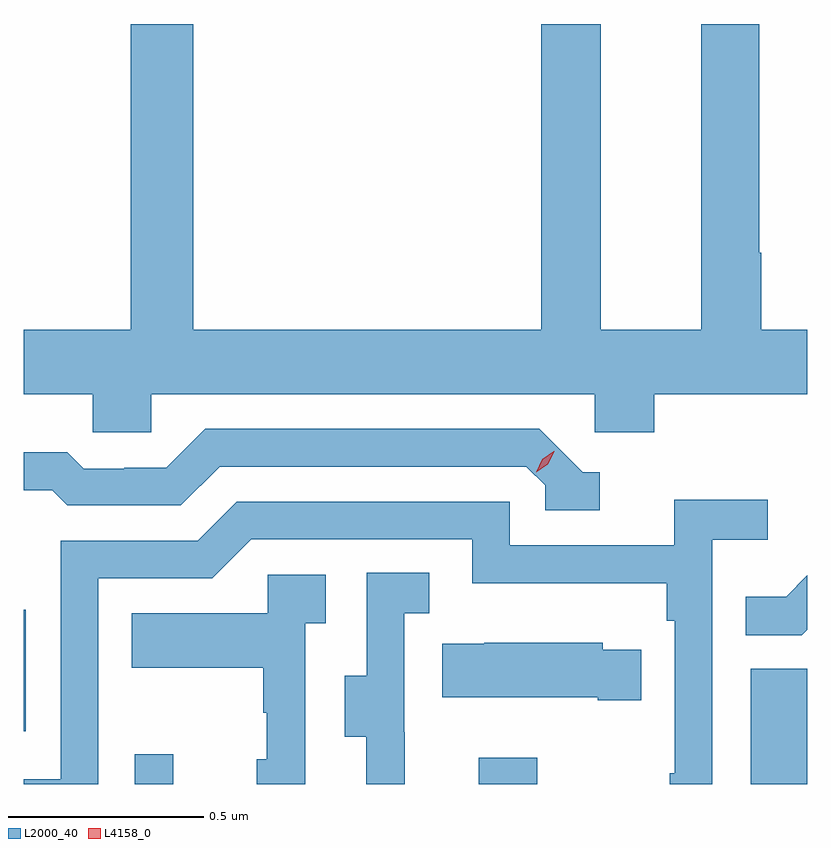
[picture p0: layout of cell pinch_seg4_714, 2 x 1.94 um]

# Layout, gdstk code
import gdstk
lib = gdstk.Library(unit=1e-6, precision=1e-09)
def R(c, l, rs):  # rectangles x0, y0, x1, y1
    for r in rs: c.add(gdstk.rectangle(r[:2], r[2:], *l))
def P(c, l, *ps):  # polygons
    for p in ps: c.add(gdstk.Polygon(p, *l))
L2000_40 = (2000, 40)
L4158_0 = (4158, 0)

pinch_seg4_714 = lib.new_cell('pinch_seg4_714')
R(pinch_seg4_714, L2000_40, [(1108.827,758.529,1108.925,758.605), (1109.705,758.529,1109.853,758.596), (1110.398,758.529,1110.543,758.823), (1108.543,758.664,1108.548,758.974)])
P(pinch_seg4_714, L2000_40, [(1108.869,759.524),(1110,759.524),(1110,759.426),(1110.152,759.426),(1110.152,759.524),(1110.543,759.524),(1110.543,759.688),(1110.425,759.688),(1110.425,759.884),(1110.42,759.884),(1110.42,760.467),(1110.272,760.467),(1110.272,759.688),(1110.016,759.688),(1110.016,760.467),(1109.864,760.467),(1109.864,759.688),(1108.976,759.688),(1108.976,760.468),(1108.816,760.468),(1108.816,759.688),(1108.543,759.688),(1108.543,759.524),(1108.719,759.524),(1108.719,759.426),(1108.869,759.426)],
  [(1110.013,759.324),(1109.97,759.324),(1109.859,759.435),(1109.006,759.435),(1108.907,759.336),(1108.8,759.336),(1108.8,759.333),(1108.697,759.333),(1108.655,759.376),(1108.543,759.376),(1108.543,759.279),(1108.616,759.279),(1108.655,759.24),(1108.944,759.24),(1109.043,759.339),(1109.826,759.339),(1109.874,759.291),(1109.874,759.228),(1110.013,759.228)],
  [(1108.734,759.054),(1109.025,759.054),(1109.124,759.153),(1109.688,759.153),(1109.688,759.041),(1110.184,759.041),(1110.184,758.945),(1110.204,758.945),(1110.204,758.557),(1110.192,758.557),(1110.192,758.529),(1110.3,758.529),(1110.3,759.152),(1110.442,759.152),(1110.442,759.254),(1110.203,759.254),(1110.203,759.138),(1109.784,759.138),(1109.784,759.249),(1109.087,759.249),(1108.988,759.15),(1108.638,759.15),(1108.638,758.541),(1108.543,758.541),(1108.543,758.529),(1108.734,758.529)],
  [(1109.516,758.661),(1109.514,758.661),(1109.514,758.965),(1109.578,758.965),(1109.578,759.068),(1109.418,759.068),(1109.418,758.805),(1109.363,758.805),(1109.363,758.65),(1109.417,758.65),(1109.417,758.529),(1109.516,758.529)],
  [(1109.262,758.939),(1109.314,758.939),(1109.314,759.063),(1109.166,759.063),(1109.166,758.965),(1108.819,758.965),(1108.819,758.825),(1109.154,758.825),(1109.154,758.711),(1109.164,758.711),(1109.164,758.592),(1109.138,758.592),(1109.138,758.529),(1109.262,758.529)],
  [(1110.543,758.922),(1110.543,759.061),(1110.489,759.007),(1110.385,759.007),(1110.385,758.908),(1110.529,758.908)],
  [(1110.119,758.872),(1110.021,758.872),(1110.021,758.89),(1109.719,758.89),(1109.719,758.887),(1109.611,758.887),(1109.611,758.75),(1110.008,758.75),(1110.008,758.743),(1110.119,758.743)])
P(pinch_seg4_714, L4158_0, [(1109.851,759.325),(1109.851,759.325),(1109.866,759.358),(1109.896,759.378),(1109.897,759.378),(1109.897,759.377),(1109.881,759.345),(1109.851,759.325)])

lib.write_gds('pinch_seg4_714.gds')
